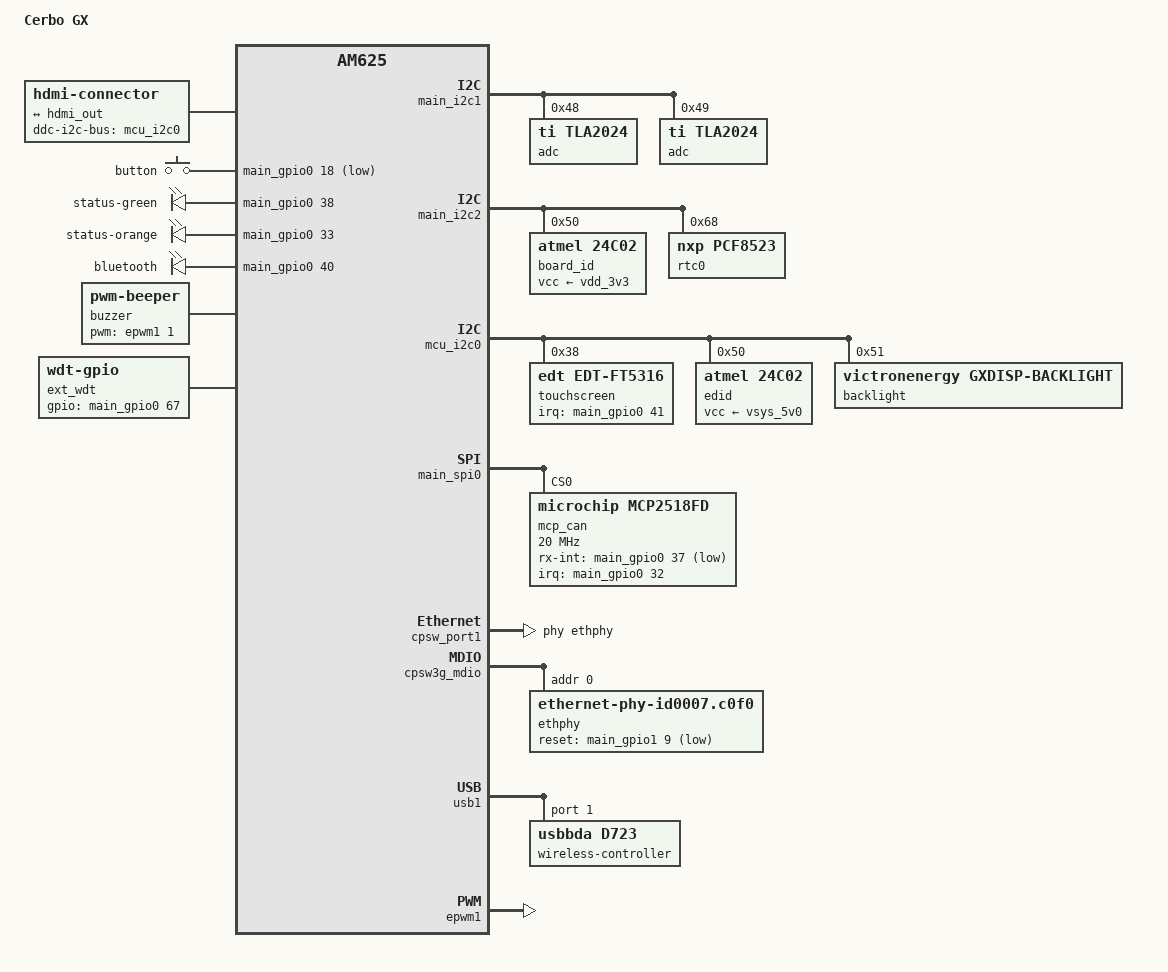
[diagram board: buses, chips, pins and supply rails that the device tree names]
/dts-v1/;

#include <dt-bindings/leds/common.h>
#include <dt-bindings/input/input.h>

#include "k3-am625-victron-revb.dtsi"

/ {
	model = "Cerbo GX";
	compatible = "victronenergy,cerbo-gx-b11",
		     "sancloud,am625-victron-revb",
		     "ti,am625";

	aliases {
		nvmem0 = &board_id;
		nvmem1 = &edid;
		nvmem2 = &som_eeprom;
		rtc0 = &rtc0;
		watchdog0 = &ext_wdt;
	};

	hdmi-connector {
		compatible = "hdmi-connector";
		type = "a";
		ddc-i2c-bus = <&mcu_i2c0>;

		port {
			hdmi_con: endpoint {
				remote-endpoint = <&hdmi_out>;
			};
		};
	};

	button {
		compatible = "gpio-keys";
		pinctrl-names = "default";
		pinctrl-0 = <&button_pins>;

		button {
			linux,code = <KEY_CONFIG>;
			gpios = <&main_gpio0 18 GPIO_ACTIVE_LOW>;
			debounce-interval = <60>;
		};
	};

	leds {
		compatible = "gpio-leds";
		pinctrl-names = "default";
		pinctrl-0 = <&led_pins>;

		led-status-green {
			label = "status-green";
			gpios = <&main_gpio0 38 GPIO_ACTIVE_HIGH>;
			default-state = "off";
		};

		led-status-orange {
			label = "status-orange";
			gpios = <&main_gpio0 33 GPIO_ACTIVE_HIGH>;
			linux,default-trigger = "blink-slow";
		};

		led-bluetooth {
			label = "bluetooth";
			gpios = <&main_gpio0 40 GPIO_ACTIVE_HIGH>;
			default-state = "off";
		};
	};

	buzzer {
		compatible = "pwm-beeper";
		pwms = <&epwm1 1 1000000 0>;
	};

	ext_wdt: watchdog {
		compatible = "linux,wdt-gpio";
		pinctrl-names = "default";
		pinctrl-0 = <&watchdog_pins>;
		hw_algo = "toggle";
		hw_margin_ms = <30000>;
		always-running;
		gpios = <&main_gpio0 67 GPIO_ACTIVE_HIGH>;
	};

	can_clk: can-clk {
		compatible = "fixed-clock";
		#clock-cells = <0>;
		clock-frequency = <40000000>;
	};
};

&main_pmx0 {
	mcp_can_pins: mcp-can-pins {
		pinctrl-single,pins = <
			AM62X_IOPAD(0x0084, PIN_INPUT, 7)	  /* L23 */
			AM62X_IOPAD(0x0098, PIN_INPUT, 7)	  /* U23 */
			AM62X_IOPAD(0x00a0, PIN_INPUT, 7)	  /* K25 */
		>;
	};

	ethphy_pins: ethphy-pins {
		pinctrl-single,pins = <
			AM62X_IOPAD(0x019c, PIN_OUTPUT, 7)	  /* B18 */
			AM62X_IOPAD(0x01f0, PIN_OUTPUT, 5)	  /* A18 */
		>;
	};

	touchscreen_pins: touchscreen-pins {
		pinctrl-single,pins = <
			AM62X_IOPAD(0x00a8, PIN_INPUT, 7)	  /* M21 */
		>;
	};

	led_pins: led-pins {
		pinctrl-single,pins = <
			AM62X_IOPAD(0x0088, PIN_OUTPUT, 7)	  /* L24 */
			AM62X_IOPAD(0x009c, PIN_OUTPUT, 7)	  /* V25 */
			AM62X_IOPAD(0x00a4, PIN_OUTPUT, 7)	  /* M22 */
		>;
	};

	watchdog_pins: watchdog-pins {
		pinctrl-single,pins = <
			AM62X_IOPAD(0x0110, PIN_OUTPUT, 7)	  /* C25 */
		>;
	};

	button_pins: button-pins {
		pinctrl-single,pins = <
			AM62X_IOPAD(0x0048, PIN_INPUT, 7)	  /* N25 */
		>;
	};

	epwm1_pins: epwm1-pins {
		pinctrl-single,pins = <
			AM62X_IOPAD(0x01a0, PIN_OUTPUT, 6)	  /* E18 */
		>;
	};

	main_gpio0_pins: main-gpio0-pins {
		pinctrl-single,pins = <
			AM62X_IOPAD(0x0114, PIN_INPUT, 7)	  /* B24 */
			AM62X_IOPAD(0x0120, PIN_INPUT, 7)	  /* C24 */
			AM62X_IOPAD(0x0168, PIN_INPUT, 7)	  /* AE21 */
		>;
	};

	main_gpio1_pins: main-gpio1-pins {
		pinctrl-single,pins = <
			AM62X_IOPAD(0x0190, PIN_INPUT, 7)	  /* AE22 */
			AM62X_IOPAD(0x01a8, PIN_INPUT, 7)	  /* D20 */
		>;
	};
};

&mcu_pmx0 {
	mcu_gpio0_pins: mcu-gpio0-pins {
		pinctrl-single,pins = <
			AM62X_IOPAD(0x001c, PIN_INPUT, 7)	  /* A6 */
			AM62X_IOPAD(0x003c, PIN_INPUT, 7)	  /* E5 */
			AM62X_IOPAD(0x0040, PIN_INPUT, 7)	  /* D4 */
		>;
	};
};

&main_i2c1 {
	adc@48 {
		compatible = "ti,tla2024";
		reg = <0x48>;
		#address-cells = <1>;
		#size-cells = <0>;

		channel@4 {
			reg = <4>;
		};

		channel@5 {
			reg = <5>;
		};

		channel@6 {
			reg = <6>;
		};

		channel@7 {
			reg = <7>;
		};
	};

	adc@49 {
		compatible = "ti,tla2024";
		reg = <0x49>;
		#address-cells = <1>;
		#size-cells = <0>;

		channel@4 {
			reg = <4>;
		};

		channel@5 {
			reg = <5>;
		};

		channel@6 {
			reg = <6>;
		};

		channel@7 {
			reg = <7>;
		};
	};
};

&main_i2c2 {
	board_id: eeprom@50 {
		compatible = "atmel,24c02";
		reg = <0x50>;
		pagesize = <16>;
		read-only;
		vcc-supply = <&vdd_3v3>;
	};

	rtc0: rtc@68 {
		compatible = "nxp,pcf8523";
		status = "okay";
		reg = <0x68>;
	};
};

&mcu_i2c0 {
	touchscreen: touchscreen@38 {
		compatible = "edt,edt-ft5316", "edt,edt-ft5306";
		pinctrl-names = "default";
		pinctrl-0 = <&touchscreen_pins>;
		reg = <0x38>;
		interrupt-parent = <&main_gpio0>;
		interrupts = <41 IRQ_TYPE_EDGE_FALLING>;
	};

	edid: eeprom@50 {
		compatible = "atmel,24c02";
		reg = <0x50>;
		pagesize = <16>;
		read-only;
		vcc-supply = <&vsys_5v0>;
	};

	backlight: backlight@51 {
		compatible = "victronenergy,gxdisp-backlight";
		reg = <0x51>;
		default-on;
		default-brightness = <15>;
	};
};

&hdmi_out {
	remote-endpoint = <&hdmi_con>;
};

&main_spi0 {
	mcp_can: can@0 {
		compatible = "microchip,mcp2518fd";
		pinctrl-names = "default";
		pinctrl-0 = <&mcp_can_pins>;
		reg = <0>;
		spi-max-frequency = <20000000>;
		clocks = <&can_clk>;
		interrupt-parent = <&main_gpio0>;
		interrupts = <32 IRQ_TYPE_EDGE_FALLING>;
		microchip,rx-int-gpios = <&main_gpio0 37 GPIO_ACTIVE_LOW>;
	};
};

&main_mcan0 {
	can-transceiver {
		max-bitrate = <2000000>;
	};
};

&cpsw_port1 {
	phy-handle = <&ethphy>;
};

&cpsw3g_mdio {
	ethphy: ethernet-phy@0 {
		compatible = "ethernet-phy-id0007.c0f0";
		pinctrl-names = "default";
		pinctrl-0 = <&ethphy_pins>;
		reg = <0>;
		clocks = <&k3_clks 157 20>;
		reset-gpios = <&main_gpio1 9 GPIO_ACTIVE_LOW>;
		reset-assert-us = <10000>;
		reset-deassert-us = <10000>;
		max-speed = <100>;
	};
};

&usb1 {
	wireless-controller@1 {
		compatible = "usbbda,d723";
		reg = <1>;
	};
};

&epwm1 {
	pinctrl-names = "default";
	pinctrl-0 = <&epwm1_pins>;
	status = "okay";
};

&main_gpio0 {
	pinctrl-names = "default";
	pinctrl-0 = <&main_gpio0_pins>;
	gpio-line-names = "relay_1", "relay_2", "vebus_standby";
	gpio-line-numbers = <68>, <70>, <88>;
};

&main_gpio1 {
	pinctrl-names = "default";
	pinctrl-0 = <&main_gpio1_pins>;
	gpio-line-names = "mkx_rst", "digital_input_4";
	gpio-line-numbers = <6>, <12>;
};

&mcu_gpio0 {
	pinctrl-names = "default";
	pinctrl-0 = <&mcu_gpio0_pins>;
	gpio-line-names =
		"digital_input_3", "digital_input_1", "digital_input_2";
	gpio-line-numbers = <7>, <15>, <16>;
};
